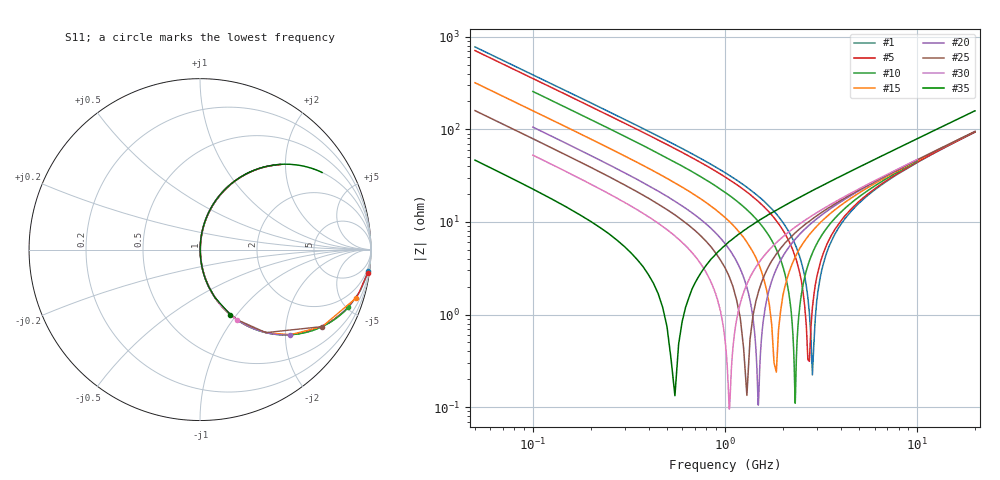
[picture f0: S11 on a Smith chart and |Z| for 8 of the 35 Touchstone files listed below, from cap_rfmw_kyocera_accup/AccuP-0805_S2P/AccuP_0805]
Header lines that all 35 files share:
! AVX Thin Film Operation		Date: April 2012
! Description: Accu-P® Series, Thin Film, SMD, RF Capacitor
!	Serial	Measurements
#	MHZ	S	MA	R	50
!	S11	S21	S12	S22
!	dB	Phase	dB	Phase	dB	Phase	dB	Phase
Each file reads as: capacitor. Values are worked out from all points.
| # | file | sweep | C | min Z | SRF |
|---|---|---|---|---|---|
| 1 | C0805SE4r1.s2p | 50 MHz to 20 GHz | 4.1 pF | 223 mohm | 2.856 GHz |
| 2 | C0805SE4r2.s2p | 50 MHz to 20 GHz | 4.2 pF | 294 mohm | 2.822 GHz |
| 3 | C0805SE4r3.s2p | 100 MHz to 10 GHz | 4.3 pF | 125 mohm | 2.717 GHz |
| 4 | C0805SE4r4.s2p | 50 MHz to 20 GHz | 4.4 pF | 220 mohm | 2.757 GHz |
| 5 | C0805SE4r5.s2p | 50 MHz to 20 GHz | 4.5 pF | 312 mohm | 2.726 GHz |
| 6 | C0805SE4r6.s2p | 50 MHz to 20 GHz | 4.6 pF | 210 mohm | 2.696 GHz |
| 7 | C0805SE4r7.s2p | 100 MHz to 10 GHz | 4.7 pF | 120 mohm | 2.598 GHz |
| 8 | C0805SE5r1.s2p | 100 MHz to 10 GHz | 5.1 pF | 120 mohm | 2.494 GHz |
| 9 | C0805SE5r6.s2p | 100 MHz to 10 GHz | 5.6 pF | 110 mohm | 2.439 GHz |
| 10 | C0805SE6r2.s2p | 100 MHz to 10 GHz | 6.2 pF | 110 mohm | 2.318 GHz |
| 11 | C0805SE6r8.s2p | 100 MHz to 10 GHz | 6.8 pF | 110 mohm | 2.214 GHz |
| 12 | C0805SE7r5.s2p | 100 MHz to 10 GHz | 7.5 pF | 110 mohm | 2.108 GHz |
| 13 | C0805SE8r2.s2p | 100 MHz to 10 GHz | 8.2 pF | 105 mohm | 2.016 GHz |
| 14 | C0805SE9r1.s2p | 100 MHz to 10 GHz | 9.1 pF | 105 mohm | 1.914 GHz |
| 15 | C0805SE100.s2p | 50 MHz to 20 GHz | 10 pF | 239 mohm | 1.829 GHz |
| 16 | C0805SE110.s2p | 100 MHz to 10 GHz | 11 pF | 105 mohm | 1.827 GHz |
| 17 | C0805SE120.s2p | 100 MHz to 10 GHz | 12 pF | 105 mohm | 1.626 GHz |
| 18 | C0805SE130.s2p | 50 MHz to 20 GHz | 13 pF | 129 mohm | 1.604 GHz |
| 19 | C0805SE140.s2p | 50 MHz to 20 GHz | 14 pF | 131 mohm | 1.545 GHz |
| 20 | C0805SE150.s2p | 100 MHz to 10 GHz | 15 pF | 105 mohm | 1.49 GHz |
| 21 | C0805SE160.s2p | 100 MHz to 10 GHz | 16 pF | 100 mohm | 1.408 GHz |
| 22 | C0805SE170.s2p | 50 MHz to 20 GHz | 17 pF | 125 mohm | 1.402 GHz |
| 23 | C0805SE180.s2p | 50 MHz to 20 GHz | 18 pF | 171 mohm | 1.363 GHz |
| 24 | C0805SE190.s2p | 50 MHz to 30 GHz | 19 pF | 126 mohm | 1.33 GHz |
| 25 | C0805SE200.s2p | 50 MHz to 20 GHz | 20 pF | 134 mohm | 1.293 GHz |
| 26 | C0805SE210.s2p | 50 MHz to 30 GHz | 21 pF | 156 mohm | 1.286 GHz |
| 27 | C0805SE220.s2p | 50 MHz to 30 GHz | 22 pF | 116 mohm | 1.268 GHz |
| 28 | C0805SE240.s2p | 100 MHz to 10 GHz | 24 pF | 95.6 mohm | 1.207 GHz |
| 29 | C0805SE270.s2p | 100 MHz to 10 GHz | 27 pF | 95.5 mohm | 1.111 GHz |
| 30 | C0805SE300.s2p | 100 MHz to 10 GHz | 30 pF | 95.3 mohm | 1.054 GHz |
| 31 | C0805SE330.s2p | 100 MHz to 10 GHz | 33 pF | 95.6 mohm | 1.005 GHz |
| 32 | C0805SE390.s2p | 100 MHz to 10 GHz | 39 pF | 95.2 mohm | 902.1 MHz |
| 33 | C0805SE470.s2p | 100 MHz to 10 GHz | 47 pF | 95.3 mohm | 821.7 MHz |
| 34 | C0805SE560.s2p | 50 MHz to 20 GHz | 56.1 pF | 242 mohm | 773.1 MHz |
| 35 | C0805SE680.s2p | 50 MHz to 20 GHz | 68 pF | 133 mohm | 543.4 MHz |
